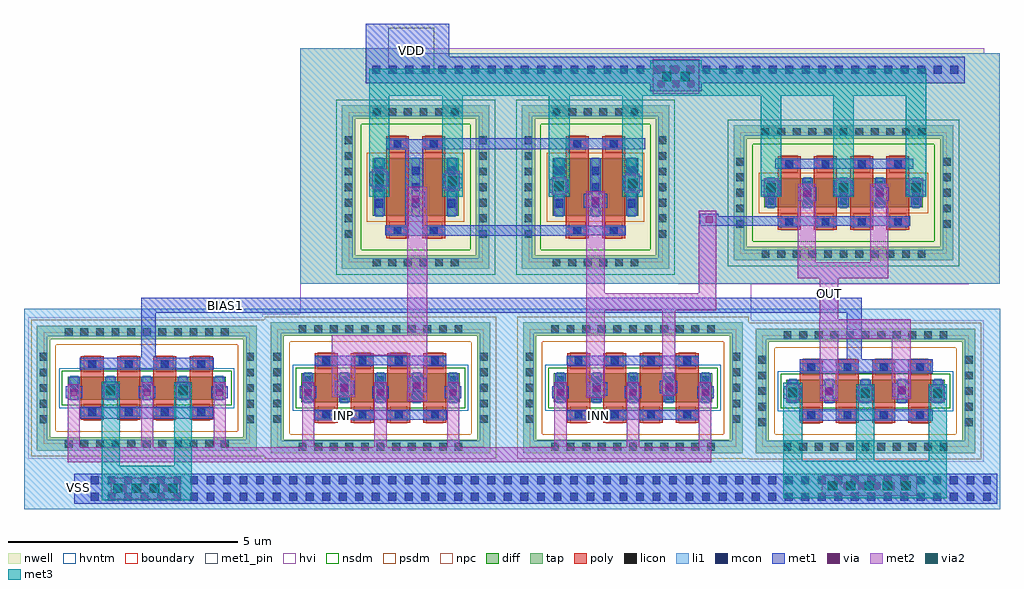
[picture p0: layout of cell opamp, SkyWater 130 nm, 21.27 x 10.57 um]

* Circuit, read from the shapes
.subckt opamp BIAS1 INN INP OUT VDD VSS
XM1 VSS BIAS1 n1 VSS sky130_fd_pr__nfet_g5v0d10v5 w=0.5 l=0.5 m=4
XM2 n2 INP n1 VSS sky130_fd_pr__nfet_g5v0d10v5 w=0.63 l=0.5 m=4
XM3 n3 INN n1 VSS sky130_fd_pr__nfet_g5v0d10v5 w=0.63 l=0.5 m=4
XM4 OUT BIAS1 VSS VSS sky130_fd_pr__nfet_g5v0d10v5 w=0.5 l=0.5 m=4
XM5 n2 n2 VDD VDD sky130_fd_pr__pfet_g5v0d10v5 w=1.25 l=0.5 m=2
XM6 n3 n2 VDD VDD sky130_fd_pr__pfet_g5v0d10v5 w=1.25 l=0.5 m=2
XM7 OUT n3 VDD VDD sky130_fd_pr__pfet_g5v0d10v5 w=0.63 l=0.5 m=4
.ends

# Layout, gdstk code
import gdstk
lib = gdstk.Library(unit=1e-6, precision=1e-09)
def R(c, l, rs):  # rectangles x0, y0, x1, y1
    for r in rs: c.add(gdstk.rectangle(r[:2], r[2:], *l))
def A(c, l, x, y, w, h, nx, ny, dx, dy):  # array of equal rectangles
    R(c, l, [(x+i*dx, y+j*dy, x+i*dx+w, y+j*dy+h) for i in range(nx) for j in range(ny)])
nwell = (64, 20)
diff = (65, 20)
tap = (65, 44)
poly = (66, 20)
licon = (66, 44)
li1 = (67, 20)
mcon = (67, 44)
met1_pin = (68, 16)
met1 = (68, 20)
via = (68, 44)
met2 = (69, 20)
via2 = (69, 44)
met3 = (70, 20)
hvi = (75, 20)
nsdm = (93, 44)
psdm = (94, 20)
npc = (95, 20)
hvntm = (125, 20)
boundary = (235, 4)

sky130_fd_pr__pfet_g5v0d = lib.new_cell('sky130_fd_pr__pfet_g5v0d10v5_766NZ5')
R(sky130_fd_pr__pfet_g5v0d, nwell, [(-1.935,-2.11,1.935,2.11)])
R(sky130_fd_pr__pfet_g5v0d, diff, [(-0.935,-0.625,0.935,0.625)])
R(sky130_fd_pr__pfet_g5v0d, tap, [(-1.605,-1.78,1.605,-1.49), (-1.605,-1.49,-1.315,1.49), (1.315,-1.49,1.605,1.49), (-1.605,1.49,1.605,1.78)])
R(sky130_fd_pr__pfet_g5v0d, poly, [(-0.645,-1.11,-0.145,1.11), (0.145,-1.11,0.645,1.11)])
A(sky130_fd_pr__pfet_g5v0d, licon, -0.935, -1.72, 0.17, 0.17, 6, 2, 0.34, 3.27)
A(sky130_fd_pr__pfet_g5v0d, licon, -1.545, -1.105, 0.17, 0.17, 1, 7, 0, 0.34)
A(sky130_fd_pr__pfet_g5v0d, licon, 1.375, -1.105, 0.17, 0.17, 1, 7, 0, 0.34)
A(sky130_fd_pr__pfet_g5v0d, licon, -0.875, -0.425, 0.17, 0.17, 3, 3, 0.79, 0.34)
R(sky130_fd_pr__pfet_g5v0d, licon, [(-0.48,-1.03,-0.31,-0.86), (0.31,-1.03,0.48,-0.86), (-0.48,0.86,-0.31,1.03), (0.31,0.86,0.48,1.03)])
A(sky130_fd_pr__pfet_g5v0d, li1, -0.875, -0.645, 0.17, 1.29, 3, 1, 0.79, 0)
R(sky130_fd_pr__pfet_g5v0d, li1, [(-1.545,-1.72,1.545,-1.55), (-1.545,-1.55,-1.375,1.55), (1.375,-1.55,1.545,1.55), (-0.645,-1.03,-0.145,-0.86), (0.145,-1.03,0.645,-0.86), (-0.645,0.86,-0.145,1.03), (0.145,0.86,0.645,1.03), (-1.545,1.55,1.545,1.72)])
A(sky130_fd_pr__pfet_g5v0d, mcon, -0.875, -0.445, 0.17, 0.17, 3, 3, 0.79, 0.36)
R(sky130_fd_pr__pfet_g5v0d, mcon, [(-0.48,-1.03,-0.31,-0.86), (0.31,-1.03,0.48,-0.86), (-0.48,0.86,-0.31,1.03), (0.31,0.86,0.48,1.03)])
A(sky130_fd_pr__pfet_g5v0d, met1, -0.905, -0.625, 0.23, 1.25, 3, 1, 0.79, 0)
R(sky130_fd_pr__pfet_g5v0d, met1, [(-0.625,-1.06,-0.165,-0.83), (0.165,-1.06,0.625,-0.83), (-0.625,0.83,-0.165,1.06), (0.165,0.83,0.625,1.06)])
R(sky130_fd_pr__pfet_g5v0d, hvi, [(-1.935,-2.11,1.935,2.11)])
R(sky130_fd_pr__pfet_g5v0d, nsdm, [(-1.73,-1.905,1.73,-1.365), (-1.73,-1.365,-1.19,1.365), (1.19,-1.365,1.73,1.365), (-1.73,1.365,1.73,1.905)])
R(sky130_fd_pr__pfet_g5v0d, psdm, [(-1.06,-0.75,1.06,0.75)])
R(sky130_fd_pr__pfet_g5v0d, npc, [(-0.58,-1.13,-0.21,-0.76), (0.21,-1.13,0.58,-0.76), (-0.58,0.76,-0.21,1.13), (0.21,0.76,0.58,1.13)])
R(sky130_fd_pr__pfet_g5v0d, boundary, [(-1.46,-1.635,1.46,1.635)])

sky130_fd_pr__nfet_g5v0d = lib.new_cell('sky130_fd_pr__nfet_g5v0d10v5_DTEAGN')
R(sky130_fd_pr__nfet_g5v0d, diff, [(-1.725,-0.25,1.725,0.25)])
R(sky130_fd_pr__nfet_g5v0d, tap, [(-2.395,-1.36,2.395,-1.07), (-2.395,-1.07,-2.105,1.07), (2.105,-1.07,2.395,1.07), (-2.395,1.07,2.395,1.36)])
A(sky130_fd_pr__nfet_g5v0d, poly, -1.435, -0.69, 0.5, 1.38, 4, 1, 0.79, 0)
A(sky130_fd_pr__nfet_g5v0d, licon, -1.785, -1.3, 0.17, 0.17, 11, 2, 0.34, 2.43)
A(sky130_fd_pr__nfet_g5v0d, licon, -2.335, -0.765, 0.17, 0.17, 1, 5, 0, 0.34)
A(sky130_fd_pr__nfet_g5v0d, licon, 2.165, -0.765, 0.17, 0.17, 1, 5, 0, 0.34)
A(sky130_fd_pr__nfet_g5v0d, licon, -1.27, -0.61, 0.17, 0.17, 4, 2, 0.79, 1.05)
A(sky130_fd_pr__nfet_g5v0d, licon, -1.665, -0.085, 0.17, 0.17, 5, 1, 0.79, 0)
A(sky130_fd_pr__nfet_g5v0d, li1, -1.435, -0.61, 0.5, 0.17, 4, 2, 0.79, 1.05)
A(sky130_fd_pr__nfet_g5v0d, li1, -1.665, -0.27, 0.17, 0.54, 5, 1, 0.79, 0)
R(sky130_fd_pr__nfet_g5v0d, li1, [(-2.335,-1.3,2.335,-1.13), (-2.335,-1.13,-2.165,1.13), (2.165,-1.13,2.335,1.13), (-2.335,1.13,2.335,1.3)])
A(sky130_fd_pr__nfet_g5v0d, mcon, -1.27, -0.61, 0.17, 0.17, 4, 2, 0.79, 1.05)
A(sky130_fd_pr__nfet_g5v0d, mcon, -1.665, -0.085, 0.17, 0.17, 5, 1, 0.79, 0)
A(sky130_fd_pr__nfet_g5v0d, met1, -1.415, -0.64, 0.46, 0.23, 4, 2, 0.79, 1.05)
A(sky130_fd_pr__nfet_g5v0d, met1, -1.695, -0.25, 0.23, 0.5, 5, 1, 0.79, 0)
R(sky130_fd_pr__nfet_g5v0d, hvi, [(-2.58,-1.545,2.58,1.545)])
R(sky130_fd_pr__nfet_g5v0d, nsdm, [(-1.85,-0.375,1.85,0.375)])
R(sky130_fd_pr__nfet_g5v0d, psdm, [(-2.52,-1.485,2.52,-0.945), (-2.52,-0.945,-1.98,0.945), (1.98,-0.945,2.52,0.945), (-2.52,0.945,2.52,1.485)])
A(sky130_fd_pr__nfet_g5v0d, npc, -1.37, -0.71, 0.37, 0.37, 4, 2, 0.79, 1.05)
R(sky130_fd_pr__nfet_g5v0d, hvntm, [(-1.91,-0.435,1.91,0.435)])
R(sky130_fd_pr__nfet_g5v0d, boundary, [(-2.25,-1.215,2.25,1.215)])

c_sky130_fd_pr__pfet_g5v0d = lib.new_cell('sky130_fd_pr__pfet_g5v0d10v5_2S4URJ')
R(c_sky130_fd_pr__pfet_g5v0d, nwell, [(-2.725,-1.8,2.725,1.8)])
R(c_sky130_fd_pr__pfet_g5v0d, diff, [(-1.725,-0.315,1.725,0.315)])
R(c_sky130_fd_pr__pfet_g5v0d, tap, [(-2.395,-1.47,2.395,-1.18), (-2.395,-1.18,-2.105,1.18), (2.105,-1.18,2.395,1.18), (-2.395,1.18,2.395,1.47)])
A(c_sky130_fd_pr__pfet_g5v0d, poly, -1.435, -0.8, 0.5, 1.6, 4, 1, 0.79, 0)
A(c_sky130_fd_pr__pfet_g5v0d, licon, -1.785, -1.41, 0.17, 0.17, 11, 2, 0.34, 2.65)
A(c_sky130_fd_pr__pfet_g5v0d, licon, -2.335, -0.765, 0.17, 0.17, 1, 5, 0, 0.34)
A(c_sky130_fd_pr__pfet_g5v0d, licon, 2.165, -0.765, 0.17, 0.17, 1, 5, 0, 0.34)
A(c_sky130_fd_pr__pfet_g5v0d, licon, -1.27, -0.72, 0.17, 0.17, 4, 2, 0.79, 1.27)
A(c_sky130_fd_pr__pfet_g5v0d, licon, -1.665, -0.255, 0.17, 0.17, 5, 2, 0.79, 0.34)
A(c_sky130_fd_pr__pfet_g5v0d, li1, -1.435, -0.72, 0.5, 0.17, 4, 2, 0.79, 1.27)
A(c_sky130_fd_pr__pfet_g5v0d, li1, -1.665, -0.335, 0.17, 0.67, 5, 1, 0.79, 0)
R(c_sky130_fd_pr__pfet_g5v0d, li1, [(-2.335,-1.41,2.335,-1.24), (-2.335,-1.24,-2.165,1.24), (2.165,-1.24,2.335,1.24), (-2.335,1.24,2.335,1.41)])
A(c_sky130_fd_pr__pfet_g5v0d, mcon, -1.27, -0.72, 0.17, 0.17, 4, 2, 0.79, 1.27)
A(c_sky130_fd_pr__pfet_g5v0d, mcon, -1.665, -0.085, 0.17, 0.17, 5, 1, 0.79, 0)
A(c_sky130_fd_pr__pfet_g5v0d, met1, -1.415, -0.75, 0.46, 0.23, 4, 2, 0.79, 1.27)
A(c_sky130_fd_pr__pfet_g5v0d, met1, -1.695, -0.315, 0.23, 0.63, 5, 1, 0.79, 0)
R(c_sky130_fd_pr__pfet_g5v0d, hvi, [(-2.725,-1.8,2.725,1.8)])
R(c_sky130_fd_pr__pfet_g5v0d, nsdm, [(-2.52,-1.595,2.52,-1.055), (-2.52,-1.055,-1.98,1.055), (1.98,-1.055,2.52,1.055), (-2.52,1.055,2.52,1.595)])
R(c_sky130_fd_pr__pfet_g5v0d, psdm, [(-1.85,-0.44,1.85,0.44)])
A(c_sky130_fd_pr__pfet_g5v0d, npc, -1.37, -0.82, 0.37, 0.37, 4, 2, 0.79, 1.27)
R(c_sky130_fd_pr__pfet_g5v0d, boundary, [(-2.25,-1.325,2.25,1.325)])

c_sky130_fd_pr__nfet_g5v0d = lib.new_cell('sky130_fd_pr__nfet_g5v0d10v5_84HAUK')
R(c_sky130_fd_pr__nfet_g5v0d, diff, [(-1.725,-0.315,1.725,0.315)])
R(c_sky130_fd_pr__nfet_g5v0d, tap, [(-2.395,-1.425,2.395,-1.135), (-2.395,-1.135,-2.105,1.135), (2.105,-1.135,2.395,1.135), (-2.395,1.135,2.395,1.425)])
A(c_sky130_fd_pr__nfet_g5v0d, poly, -1.435, -0.755, 0.5, 1.51, 4, 1, 0.79, 0)
A(c_sky130_fd_pr__nfet_g5v0d, licon, -1.785, -1.365, 0.17, 0.17, 11, 2, 0.34, 2.56)
A(c_sky130_fd_pr__nfet_g5v0d, licon, -2.335, -0.765, 0.17, 0.17, 1, 5, 0, 0.34)
A(c_sky130_fd_pr__nfet_g5v0d, licon, 2.165, -0.765, 0.17, 0.17, 1, 5, 0, 0.34)
A(c_sky130_fd_pr__nfet_g5v0d, licon, -1.27, -0.675, 0.17, 0.17, 4, 2, 0.79, 1.18)
A(c_sky130_fd_pr__nfet_g5v0d, licon, -1.665, -0.255, 0.17, 0.17, 5, 2, 0.79, 0.34)
A(c_sky130_fd_pr__nfet_g5v0d, li1, -1.435, -0.675, 0.5, 0.17, 4, 2, 0.79, 1.18)
A(c_sky130_fd_pr__nfet_g5v0d, li1, -1.665, -0.335, 0.17, 0.67, 5, 1, 0.79, 0)
R(c_sky130_fd_pr__nfet_g5v0d, li1, [(-2.335,-1.365,2.335,-1.195), (-2.335,-1.195,-2.165,1.195), (2.165,-1.195,2.335,1.195), (-2.335,1.195,2.335,1.365)])
A(c_sky130_fd_pr__nfet_g5v0d, mcon, -1.27, -0.675, 0.17, 0.17, 4, 2, 0.79, 1.18)
A(c_sky130_fd_pr__nfet_g5v0d, mcon, -1.665, -0.085, 0.17, 0.17, 5, 1, 0.79, 0)
A(c_sky130_fd_pr__nfet_g5v0d, met1, -1.415, -0.705, 0.46, 0.23, 4, 2, 0.79, 1.18)
A(c_sky130_fd_pr__nfet_g5v0d, met1, -1.695, -0.315, 0.23, 0.63, 5, 1, 0.79, 0)
R(c_sky130_fd_pr__nfet_g5v0d, hvi, [(-2.58,-1.61,2.58,1.61)])
R(c_sky130_fd_pr__nfet_g5v0d, nsdm, [(-1.85,-0.44,1.85,0.44)])
R(c_sky130_fd_pr__nfet_g5v0d, psdm, [(-2.52,-1.55,2.52,-1.01), (-2.52,-1.01,-1.98,1.01), (1.98,-1.01,2.52,1.01), (-2.52,1.01,2.52,1.55)])
A(c_sky130_fd_pr__nfet_g5v0d, npc, -1.37, -0.775, 0.37, 0.37, 4, 2, 0.79, 1.18)
R(c_sky130_fd_pr__nfet_g5v0d, hvntm, [(-1.91,-0.5,1.91,0.5)])
R(c_sky130_fd_pr__nfet_g5v0d, boundary, [(-2.25,-1.28,2.25,1.28)])

c_sky130_fd_pr__nfet_g5v0d_ = lib.new_cell('sky130_fd_pr__nfet_g5v0d10v5_86HAUK')
R(c_sky130_fd_pr__nfet_g5v0d_, diff, [(-1.725,-0.315,1.725,0.315)])
R(c_sky130_fd_pr__nfet_g5v0d_, tap, [(-2.395,-1.425,2.395,-1.135), (-2.395,-1.135,-2.105,1.135), (2.105,-1.135,2.395,1.135), (-2.395,1.135,2.395,1.425)])
A(c_sky130_fd_pr__nfet_g5v0d_, poly, -1.435, -0.755, 0.5, 1.51, 4, 1, 0.79, 0)
A(c_sky130_fd_pr__nfet_g5v0d_, licon, -1.785, -1.365, 0.17, 0.17, 11, 2, 0.34, 2.56)
A(c_sky130_fd_pr__nfet_g5v0d_, licon, -2.335, -0.765, 0.17, 0.17, 1, 5, 0, 0.34)
A(c_sky130_fd_pr__nfet_g5v0d_, licon, 2.165, -0.765, 0.17, 0.17, 1, 5, 0, 0.34)
A(c_sky130_fd_pr__nfet_g5v0d_, licon, -1.27, -0.675, 0.17, 0.17, 4, 2, 0.79, 1.18)
A(c_sky130_fd_pr__nfet_g5v0d_, licon, -1.665, -0.255, 0.17, 0.17, 5, 2, 0.79, 0.34)
A(c_sky130_fd_pr__nfet_g5v0d_, li1, -1.435, -0.675, 0.5, 0.17, 4, 2, 0.79, 1.18)
A(c_sky130_fd_pr__nfet_g5v0d_, li1, -1.665, -0.335, 0.17, 0.67, 5, 1, 0.79, 0)
R(c_sky130_fd_pr__nfet_g5v0d_, li1, [(-2.335,-1.365,2.335,-1.195), (-2.335,-1.195,-2.165,1.195), (2.165,-1.195,2.335,1.195), (-2.335,1.195,2.335,1.365)])
A(c_sky130_fd_pr__nfet_g5v0d_, mcon, -1.27, -0.675, 0.17, 0.17, 4, 2, 0.79, 1.18)
A(c_sky130_fd_pr__nfet_g5v0d_, mcon, -1.665, -0.085, 0.17, 0.17, 5, 1, 0.79, 0)
A(c_sky130_fd_pr__nfet_g5v0d_, met1, -1.415, -0.705, 0.46, 0.23, 4, 2, 0.79, 1.18)
A(c_sky130_fd_pr__nfet_g5v0d_, met1, -1.695, -0.315, 0.23, 0.63, 5, 1, 0.79, 0)
R(c_sky130_fd_pr__nfet_g5v0d_, hvi, [(-2.58,-1.61,2.58,1.61)])
R(c_sky130_fd_pr__nfet_g5v0d_, nsdm, [(-1.85,-0.44,1.85,0.44)])
R(c_sky130_fd_pr__nfet_g5v0d_, psdm, [(-2.52,-1.55,2.52,-1.01), (-2.52,-1.01,-1.98,1.01), (1.98,-1.01,2.52,1.01), (-2.52,1.01,2.52,1.55)])
A(c_sky130_fd_pr__nfet_g5v0d_, npc, -1.37, -0.775, 0.37, 0.37, 4, 2, 0.79, 1.18)
R(c_sky130_fd_pr__nfet_g5v0d_, hvntm, [(-1.91,-0.5,1.91,0.5)])
R(c_sky130_fd_pr__nfet_g5v0d_, boundary, [(-2.25,-1.28,2.25,1.28)])

opamp = lib.new_cell('opamp')
R(opamp, nwell, [(19.22,-0.4,25.55,-0.39), (11.56,-0.395,12.21,-0.39), (15.43,-0.395,15.685,-0.28), (10.975,-0.39,12.21,-0.28), (19.22,-0.39,26.225,-0.285), (19.1,-0.285,26.225,-0.28), (10.975,-0.28,26.225,0.2), (10.975,0.2,11.83,3.37), (15,0.2,16,0.655), (19.1,0.2,26.225,3.37), (13.33,0.655,13.66,0.67), (14.12,0.655,17.25,0.885), (15,0.885,16,3.37), (16.4,1.505,16.855,3.37), (10.975,3.37,26.225,4.63), (10.975,4.63,25.89,4.74)])
R(opamp, li1, [(4.96,-5.3,26.23,-3.81), (4.96,-3.81,5.3,-1.41), (9.81,-3.81,10.57,-1.41), (14.9,-3.81,16.02,-1.41), (20.395,-3.81,21.135,-1.5), (25.635,-3.81,26.23,-1.5), (20.395,-1.5,26.23,-1.41), (4.96,-1.41,26.23,-0.94), (4.96,-0.94,6.065,-0.935), (10.975,-0.39,26.225,0.09), (10.975,0.09,11.95,3.26), (15,0.09,16,3.26), (18.78,0.09,26.225,0.25), (18.78,0.25,20.66,2.94), (24.99,0.25,26.225,2.94), (18.78,2.94,26.225,3.26), (10.975,3.26,26.225,4.63), (10.975,4.63,13.69,4.74)])
A(opamp, mcon, 6.42, -5.12, 0.17, 0.17, 55, 2, 0.36, 0.36)
A(opamp, mcon, 12.55, 4.185, 0.17, 0.17, 36, 1, 0.36, 0)
R(opamp, met1_pin, [(12.9,4.19,13.9,5.19)])
A(opamp, met1, 10.97, -2.89, 0.36, 0.26, 3, 1, 1.58, 0)
A(opamp, met1, 16.47, -2.89, 0.36, 0.26, 3, 1, 1.58, 0)
A(opamp, met1, 21.03, 1.54, 0.42, 0.32, 3, 1, 1.58, 0)
R(opamp, met1, [(6.05,-5.18,26.17,-4.53), (21.85,-3.38,24.76,-3.13), (11.29,-3.35,14.17,-3.14), (16.79,-3.35,19.67,-3.14), (6.17,-3.33,9.09,-3.07), (23.1,-2.92,23.49,-2.64), (24.68,-2.92,25.07,-2.64), (21.52,-2.9,21.91,-2.62), (5.87,-2.89,6.23,-2.63), (7.46,-2.89,7.82,-2.63), (9.04,-2.89,9.4,-2.63), (22.3,-2.89,22.71,-2.6), (6.65,-2.86,7.04,-2.58), (8.23,-2.86,8.62,-2.58), (23.88,-2.85,24.29,-2.56), (17.22,-2.83,17.67,-2.54), (11.73,-2.81,12.16,-2.5), (18.82,-2.78,19.2,-2.5), (13.32,-2.76,13.74,-2.44), (21.87,-2.34,24.76,-2.04), (6.18,-2.26,9.1,-2), (11.3,-2.17,14.16,-1.96), (16.79,-2.17,19.67,-1.96), (22.895,-2.04,23.22,-1.025), (7.51,-2,7.835,-1.025), (7.51,-1.025,23.22,-0.7), (13.33,0.655,13.66,0.67), (14.12,0.655,17.25,0.67), (12.83,0.67,18.07,0.87), (12.83,0.87,17.25,0.88), (19.69,0.87,24.27,1.08), (13.27,0.88,13.66,1.29), (14.12,0.88,17.25,0.885), (19.69,1.08,20.09,1.14), (17.16,1.27,17.67,1.57), (13.27,1.29,13.7,1.61), (21.82,1.42,22.23,1.71), (23.4,1.42,23.81,1.71), (16.415,1.595,16.825,1.885), (13.27,1.61,13.66,2.56), (18.01,1.64,18.43,1.96), (14.09,1.69,14.51,2.01), (12.49,1.73,12.91,2.05), (21.33,2.12,24.34,2.33), (14.12,2.545,18.5,2.56), (12.85,2.56,18.5,2.76), (14.12,2.76,18.5,2.775), (18.61,3.8,19.73,3.98), (12.41,3.98,25.46,4.56), (12.41,4.56,14.23,5.27)])
A(opamp, via, 7.05, -4.925, 0.15, 0.15, 4, 1, 0.32, 0)
A(opamp, via, 22.505, -4.865, 0.15, 0.15, 6, 1, 0.32, 0)
A(opamp, via, 11.075, -2.835, 0.15, 0.15, 3, 1, 1.58, 0)
A(opamp, via, 16.575, -2.835, 0.15, 0.15, 3, 1, 1.58, 0)
A(opamp, via, 21.165, 1.625, 0.15, 0.15, 3, 1, 1.58, 0)
A(opamp, via, 18.775, 3.89, 0.15, 0.15, 3, 2, 0.32, 0.32)
R(opamp, via, [(23.22,-2.855,23.37,-2.705), (24.8,-2.855,24.95,-2.705), (5.975,-2.835,6.125,-2.685), (7.565,-2.835,7.715,-2.685), (9.145,-2.835,9.295,-2.685), (21.64,-2.835,21.79,-2.685), (22.43,-2.82,22.58,-2.67), (6.77,-2.795,6.92,-2.645), (8.35,-2.795,8.5,-2.645), (24.01,-2.78,24.16,-2.63), (17.37,-2.76,17.52,-2.61), (11.87,-2.73,12.02,-2.58), (18.935,-2.715,19.085,-2.565), (13.455,-2.675,13.605,-2.525), (19.815,0.935,19.965,1.085), (17.34,1.345,17.49,1.495), (13.415,1.375,13.565,1.525), (21.95,1.49,22.1,1.64), (23.53,1.49,23.68,1.64), (16.545,1.665,16.695,1.815), (18.145,1.725,18.295,1.875), (14.225,1.775,14.375,1.925), (12.625,1.815,12.775,1.965)])
A(opamp, met2, 21.08, 1.49, 0.32, 0.42, 3, 1, 1.58, 0)
R(opamp, met2, [(6.85,-5.085,8.36,-4.615), (22.345,-5.015,24.42,-4.56), (5.91,-4.28,19.94,-3.95), (5.91,-3.95,6.18,-2.58), (7.51,-3.95,7.78,-2.54), (9.09,-3.95,9.36,-2.54), (11.02,-3.95,11.29,-2.54), (12.59,-3.95,12.86,-2.54), (14.18,-3.95,14.45,-2.54), (16.52,-3.95,16.79,-2.54), (18.1,-3.95,18.37,-2.54), (19.67,-3.95,19.94,-2.54), (23.15,-2.97,23.44,-2.59), (24.73,-2.97,25.02,-2.59), (13.31,-2.95,13.75,-1.95), (21.57,-2.95,21.86,-2.57), (22.3,-2.94,22.71,-1.59), (6.7,-2.91,6.99,-2.53), (8.28,-2.91,8.57,-2.53), (23.87,-2.91,24.28,-1.59), (17.21,-2.88,17.62,-0.97), (11.67,-2.86,12.18,-1.95), (18.87,-2.83,19.15,-0.97), (11.67,-1.95,13.75,-1.51), (22.29,-1.59,24.29,-1.17), (13.31,-1.51,13.75,1.72), (22.3,-1.17,22.71,-0.27), (17.21,-0.97,20.05,-0.6), (17.21,-0.6,17.62,1.63), (19.66,-0.6,20.05,1.2), (21.82,-0.27,23.8,0.08), (21.82,0.08,22.22,1.79), (23.4,0.08,23.8,1.79), (16.465,1.545,16.775,1.935), (18.06,1.59,18.38,2.01), (14.14,1.64,14.46,2.06), (12.54,1.68,12.86,2.1), (18.66,3.75,19.68,4.5)])
A(opamp, via2, 6.905, -4.95, 0.2, 0.2, 4, 1, 0.4, 0)
A(opamp, via2, 22.48, -4.89, 0.2, 0.2, 5, 1, 0.4, 0)
A(opamp, via2, 21.14, 1.6, 0.2, 0.2, 3, 1, 1.58, 0)
R(opamp, via2, [(23.195,-2.88,23.395,-2.68), (24.775,-2.88,24.975,-2.68), (21.615,-2.86,21.815,-2.66), (6.745,-2.82,6.945,-2.62), (8.325,-2.82,8.525,-2.62), (16.52,1.64,16.72,1.84), (18.12,1.7,18.32,1.9), (14.2,1.75,14.4,1.95), (12.6,1.79,12.8,1.99), (18.87,4.025,19.07,4.225), (19.27,4.025,19.47,4.225)])
A(opamp, met3, 21.02, 1.5, 0.44, 2.21, 3, 1, 1.58, 0)
R(opamp, met3, [(6.65,-5.11,8.615,-4.36), (21.51,-5.07,25.07,-4.25), (6.65,-4.36,7.05,-2.53), (8.23,-4.36,8.615,-4.29), (8.23,-4.29,8.62,-2.54), (21.51,-4.25,21.92,-2.55), (23.1,-4.25,23.49,-2.58), (24.68,-4.25,25.07,-2.58), (12.48,1.5,12.92,3.71), (14.08,1.5,14.52,3.71), (18,1.5,18.44,3.71), (16.4,1.505,16.855,3.71), (12.48,3.71,24.62,4.3), (18.61,4.3,19.73,4.475)])
R(opamp, hvi, [(15.31,-4.27,15.65,-1.05), (10.975,-1.05,20.81,-0.4), (10.975,-0.4,25.55,-0.395), (10.975,-0.395,11.56,3.825), (15.43,-0.395,15.48,3.825), (19.35,-0.395,25.55,-0.39), (19.35,-0.39,26.225,-0.21), (19.35,-0.21,20.095,3.39), (25.545,-0.21,26.225,3.39), (19.35,3.39,26.225,3.825), (10.975,3.825,26.225,4.63), (10.975,4.63,25.89,4.74)])
R(opamp, psdm, [(20.75,-4.21,20.78,-1.245), (10.155,-4.15,10.21,-1.18)])
opamp.add(gdstk.Reference(sky130_fd_pr__pfet_g5v0d, (13.495,1.715)))
opamp.add(gdstk.Reference(sky130_fd_pr__nfet_g5v0d, (7.635,-2.665)))
opamp.add(gdstk.Reference(sky130_fd_pr__nfet_g5v0d, (23.3,-2.73)))
opamp.add(gdstk.Reference(c_sky130_fd_pr__pfet_g5v0d, (22.82,1.59)))
opamp.add(gdstk.Reference(sky130_fd_pr__pfet_g5v0d, (17.415,1.715)))
opamp.add(gdstk.Reference(c_sky130_fd_pr__nfet_g5v0d, (18.23,-2.66)))
opamp.add(gdstk.Reference(c_sky130_fd_pr__nfet_g5v0d_, (12.73,-2.66)))
opamp.add(gdstk.Label('VDD', (13.4,4.69), layer=68, texttype=5))
opamp.add(gdstk.Label('INN', (17.48,-3.26), layer=68, texttype=5))
opamp.add(gdstk.Label('INP', (11.92,-3.27), layer=68, texttype=5))
opamp.add(gdstk.Label('OUT', (22.52,-0.6), layer=69, texttype=5))
opamp.add(gdstk.Label('BIAS1', (9.36,-0.87), layer=68, texttype=5))
opamp.add(gdstk.Label('VSS', (6.15,-4.84), layer=68, texttype=5))

lib.write_gds('opamp.gds')
